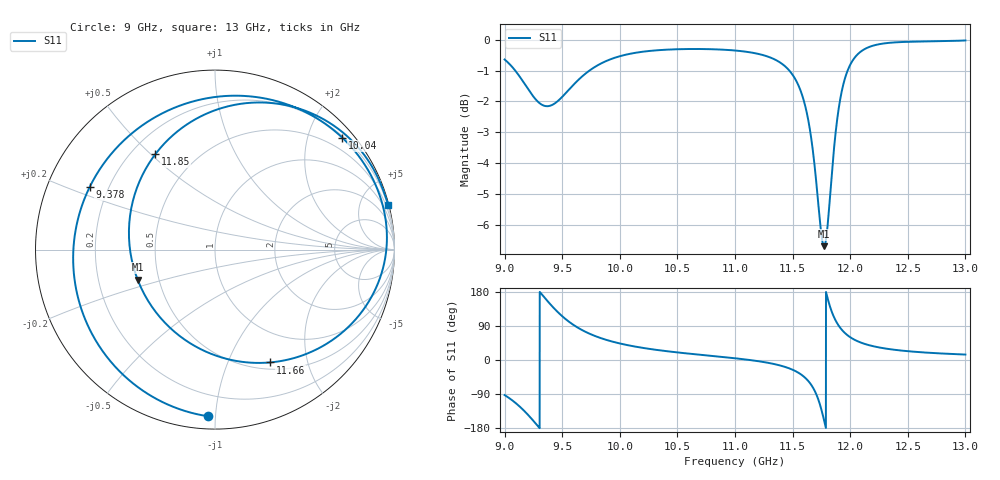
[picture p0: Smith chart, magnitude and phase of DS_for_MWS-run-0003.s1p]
! TOUCHSTONE file generated by CST DESIGN STUDIO
! Date and time: Tue Feb  4 13:53:33 2025
! Project name: C:\Work\MatlabApps\UnitCellOptimizationMatlab\CST\unitcell.cst
! Tree item: Tasks\Sweep1\SPara1\S-Parameters
! Header version: 2024
! Port assignment regex: !\s*Touchstone port\s*([0-9]+)\s*=\s*(CST MWS port|CST DES external port|CST DES block port)\s*(.+)\s* \(\"(.*)\"\)(\s*mode\s*([0-9]+))?.*
! Touchstone port assignment:
! Touchstone port 1 = CST DES external port 1 ("")
# GHz S MA R 50
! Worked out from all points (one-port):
!   4001 points, 9 GHz to 13 GHz, reference 50 ohm
!   lowest |S11| = -6.7 dB at 11.77 GHz (marker M1), VSWR 2.72, Z = 18.9 - j8.03 ohm
!   |S11| at or under -10 dB: nowhere
!   S11 on the Smith chart (normalised r, x): 9 GHz: 0.07, -0.95; 9.378 GHz: 0.13, +0.23; 10.04 GHz: 0.23, +2.64; 11.66 GHz: 0.58, -1.44; 11.85 GHz: 0.29, +0.52; 13 GHz: 0.08, +7.93
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9  0.9291 -92.5
9.118  0.8784 -119.3
9.231  0.8179 -154.0
9.303  0.7894 -179.6
9.378  0.7805 153.5
9.5  0.808 115.6
9.604  0.8476 91.3
9.738  0.8919 69.3
9.86  0.9199 55.3
10  0.9406 43.7
10.035  0.9443 41.3
10.5  0.9654 20.0
11  0.9609 4.6
11.32  0.9338 -9.4
11.5  0.8775 -25.7
11.588  0.8076 -41.5
11.658  0.6998 -63.9
11.719  0.5523 -100.7
11.773  0.4625 -158.9
11.808  0.5096 158.3
11.847  0.6274 121.9
11.877  0.7166 102.2
11.91  0.7943 86.3
12  0.9109 60.2
12.078  0.9524 47.7
12.178  0.9757 38.0
12.5  0.9926 23.2
13  0.9976 14.4
